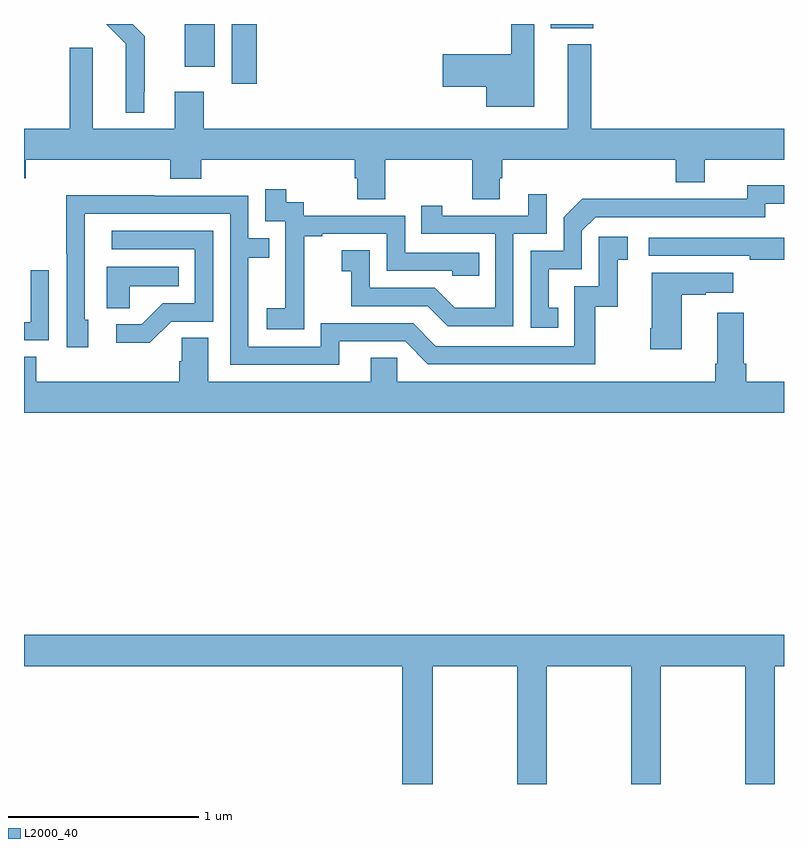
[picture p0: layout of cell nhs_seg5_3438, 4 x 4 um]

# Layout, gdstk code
import gdstk
lib = gdstk.Library(unit=1e-6, precision=1e-09)
def R(c, l, rs):  # rectangles x0, y0, x1, y1
    for r in rs: c.add(gdstk.rectangle(r[:2], r[2:], *l))
def P(c, l, *ps):  # polygons
    for p in ps: c.add(gdstk.Polygon(p, *l))
L2000_40 = (2000, 40)

nhs_seg5_3438 = lib.new_cell('nhs_seg5_3438')
R(nhs_seg5_3438, L2000_40, [(314.093,866.484,314.225,866.799), (313.847,866.574,314.005,866.799), (315.773,866.777,315.996,866.799)])
P(nhs_seg5_3438, L2000_40, [(313.633,866.443),(313.636,866.443),(313.636,866.735),(313.572,866.799),(313.433,866.799),(313.536,866.696),(313.536,866.594),(313.535,866.594),(313.535,866.333),(313.633,866.333)],
  [(315.685,866.799),(315.564,866.799),(315.564,866.639),(315.204,866.639),(315.204,866.468),(315.434,866.468),(315.434,866.363),(315.685,866.363)],
  [(314.901,866.084),(315.358,866.084),(315.358,865.876),(315.505,865.876),(315.505,865.986),(315.518,865.986),(315.518,866.084),(316.43,866.084),(316.43,865.967),(316.582,865.967),(316.582,866.084),(317,866.084),(317,866.248),(315.985,866.248),(315.985,866.692),(315.863,866.692),(315.863,866.248),(313.946,866.248),(313.946,866.443),(313.793,866.443),(313.793,866.248),(313.363,866.248),(313.363,866.674),(313.241,866.674),(313.241,866.248),(313,866.248),(313,865.988),(313.01,865.988),(313.01,866.084),(313.769,866.084),(313.769,865.985),(313.934,865.985),(313.934,866.084),(314.741,866.084),(314.741,865.986),(314.753,865.986),(314.753,865.876),(314.901,865.876)],
  [(315.812,865.305),(315.763,865.305),(315.763,865.509),(315.936,865.509),(315.936,865.71),(316.008,865.782),(316.902,865.782),(316.902,865.854),(317,865.854),(317,865.951),(316.806,865.951),(316.806,865.878),(316.346,865.878),(316.346,865.88),(315.938,865.88),(315.84,865.782),(315.84,865.605),(315.666,865.605),(315.666,865.2),(315.812,865.2)],
  [(314.475,865.399),(314.474,865.399),(314.474,865.683),(314.569,865.683),(314.569,865.695),(314.91,865.695),(314.91,865.5),(315.255,865.5),(315.255,865.473),(315.395,865.473),(315.395,865.596),(315.006,865.596),(315.006,865.791),(314.472,865.791),(314.472,865.86),(314.38,865.86),(314.38,865.93),(314.271,865.93),(314.271,865.761),(314.376,865.761),(314.376,865.532),(314.375,865.532),(314.375,865.303),(314.277,865.303),(314.277,865.193),(314.475,865.193)],
  [(315.576,865.695),(315.75,865.695),(315.75,865.903),(315.653,865.903),(315.653,865.791),(315.202,865.791),(315.202,865.843),(315.091,865.843),(315.091,865.695),(315.48,865.695),(315.48,865.306),(315.266,865.306),(315.162,865.41),(314.82,865.41),(314.82,865.609),(314.673,865.609),(314.673,865.499),(314.722,865.499),(314.722,865.314),(315.125,865.314),(315.23,865.209),(315.576,865.209)],
  [(314.659,865.128),(315.006,865.128),(315.126,865.008),(316.006,865.008),(316.006,865.311),(316.124,865.311),(316.124,865.557),(316.177,865.557),(316.177,865.678),(316.026,865.678),(316.026,865.419),(315.897,865.419),(315.897,865.104),(315.168,865.104),(315.048,865.224),(314.562,865.224),(314.562,865.101),(314.181,865.101),(314.181,865.57),(314.291,865.57),(314.291,865.671),(314.181,865.671),(314.181,865.896),(313.685,865.896),(313.685,865.898),(313.222,865.898),(313.222,865.591),(313.224,865.591),(313.224,865.098),(313.339,865.098),(313.339,865.242),(313.32,865.242),(313.32,865.8),(314.085,865.8),(314.085,865.005),(314.659,865.005)],
  [(313.776,865.233),(313.995,865.233),(313.995,865.71),(313.461,865.71),(313.461,865.614),(313.899,865.614),(313.899,865.329),(313.73,865.329),(313.619,865.218),(313.485,865.218),(313.485,865.121),(313.663,865.121)],
  [(317,865.674),(316.287,865.674),(316.287,865.578),(316.819,865.578),(316.819,865.558),(317,865.558)],
  [(313.557,865.418),(313.814,865.418),(313.814,865.522),(313.436,865.522),(313.436,865.303),(313.557,865.303)],
  [(313.131,865.504),(313.035,865.504),(313.035,865.23),(313,865.23),(313,865.134),(313.131,865.134)],
  [(316.462,865.375),(316.589,865.375),(316.589,865.385),(316.732,865.385),(316.732,865.489),(316.304,865.489),(316.304,865.198),(316.297,865.198),(316.297,865.086),(316.462,865.086)],
  [(317,864.916),(316.802,864.916),(316.802,865.012),(316.789,865.012),(316.789,865.279),(316.649,865.279),(316.649,865.012),(316.637,865.012),(316.637,864.916),(314.964,864.916),(314.964,865.043),(314.825,865.043),(314.825,864.916),(313.969,864.916),(313.969,865.148),(313.83,865.148),(313.83,865.025),(313.817,865.025),(313.817,864.916),(313.064,864.916),(313.064,865.049),(313,865.049),(313,864.752),(317,864.752)],
  [(315.15,863.42),(315.595,863.42),(315.595,862.799),(315.75,862.799),(315.75,863.42),(316.195,863.42),(316.195,862.799),(316.35,862.799),(316.35,863.42),(316.795,863.42),(316.795,862.799),(316.95,862.799),(316.95,863.42),(317,863.42),(317,863.584),(313,863.584),(313,863.42),(314.99,863.42),(314.99,862.799),(315.15,862.799)])

lib.write_gds('nhs_seg5_3438.gds')
